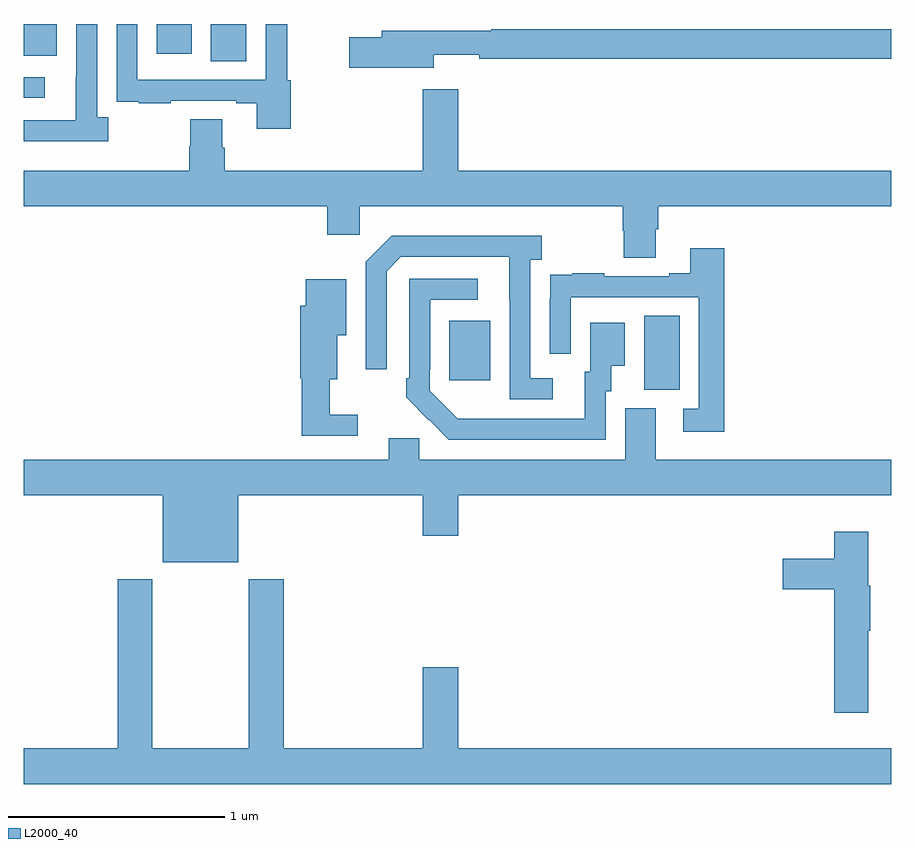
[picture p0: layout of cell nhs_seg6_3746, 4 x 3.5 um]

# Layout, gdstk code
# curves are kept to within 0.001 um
import gdstk
lib = gdstk.Library(unit=1e-6, precision=1e-09)
def R(c, l, rs):  # rectangles x0, y0, x1, y1
    for r in rs: c.add(gdstk.rectangle(r[:2], r[2:], *l))
def P(c, l, *ps):  # polygons
    for p in ps: c.add(gdstk.Polygon(p, *l))
L2000_40 = (2000, 40)

nhs_seg6_3746 = lib.new_cell('nhs_seg6_3746')
R(nhs_seg6_3746, L2000_40, [(333.86,955.813,334.024,956.156), (332.963,955.857,333.151,956.131), (331,957.159,331.096,957.255), (331.862,957.328,332.026,957.5), (331,957.353,331.153,957.5), (331.613,957.363,331.774,957.5)])
P(nhs_seg6_3746, L2000_40, [(331.39,957.07),(331.338,957.07),(331.338,957.5),(331.242,957.5),(331.242,957.257),(331.241,957.257),(331.241,957.057),(331,957.057),(331,956.96),(331.39,956.96)],
  [(332.231,957.24),(332.216,957.24),(332.216,957.5),(332.115,957.5),(332.115,957.243),(331.524,957.243),(331.524,957.5),(331.428,957.5),(331.428,957.25),(331.429,957.25),(331.429,957.141),(331.531,957.141),(331.531,957.135),(331.679,957.135),(331.679,957.147),(331.979,957.147),(331.979,957.135),(332.075,957.135),(332.075,957.018),(332.231,957.018)],
  [(332.89,957.359),(333.1,957.359),(333.1,957.34),(335,957.34),(335,957.476),(333.155,957.476),(333.155,957.469),(332.651,957.469),(332.651,957.44),(332.502,957.44),(332.502,957.298),(332.89,957.298)],
  [(333.004,957.199),(332.84,957.199),(332.84,956.824),(331.928,956.824),(331.928,956.93),(331.915,956.93),(331.915,957.062),(331.768,957.062),(331.768,956.937),(331.763,956.937),(331.763,956.824),(331,956.824),(331,956.66),(332.399,956.66),(332.399,956.529),(332.55,956.529),(332.55,956.66),(333.761,956.66),(333.761,956.547),(333.766,956.547),(333.766,956.422),(333.913,956.422),(333.913,956.554),(333.926,956.554),(333.926,956.66),(335,956.66),(335,956.824),(333.004,956.824)],
  [(333.439,955.866),(333.336,955.866),(333.336,956.414),(333.388,956.414),(333.388,956.524),(332.698,956.524),(332.577,956.403),(332.577,955.908),(332.673,955.908),(332.673,956.361),(332.739,956.427),(333.239,956.427),(333.24,955.77),(333.439,955.77)],
  [(334.229,956.467),(334.073,956.467),(334.073,956.35),(333.977,956.35),(333.977,956.337),(333.677,956.337),(333.677,956.35),(333.529,956.35),(333.529,956.343),(333.427,956.343),(333.427,956.234),(333.426,956.234),(333.426,955.98),(333.522,955.98),(333.522,956.241),(334.113,956.241),(334.113,955.725),(334.041,955.725),(334.041,955.62),(334.229,955.62)],
  [(333.684,955.806),(333.709,955.806),(333.709,955.925),(333.772,955.925),(333.772,956.122),(333.611,956.122),(333.611,955.896),(333.587,955.896),(333.587,955.68),(333,955.681),(332.871,955.809),(332.871,955.909),(332.874,955.909),(332.874,956.229),(333.094,956.229),(333.094,956.325),(332.778,956.325),(332.778,955.867),(332.763,955.867),(332.763,955.779),(332.96,955.584),(333.684,955.584)],
  [(332.539,955.699),(332.41,955.699),(332.41,955.862),(332.446,955.862),(332.446,956.066),(332.488,956.066),(332.488,956.323),(332.3,956.323),(332.3,956.202),(332.276,956.202),(332.276,955.866),(332.281,955.866),(332.281,955.602),(332.539,955.602)],
  [(332.823,955.59),(332.684,955.59),(332.684,955.492),(331,955.492),(331,955.328),(331.64,955.328),(331.64,955.019),(331.99,955.019),(331.99,955.328),(332.84,955.328),(332.84,955.14),(333.004,955.14),(333.004,955.328),(335,955.328),(335,955.492),(333.913,955.492),(333.913,955.728),(333.773,955.728),(333.773,955.492),(332.823,955.492)],
  [(334.894,954.703),(334.902,954.703),(334.902,954.909),(334.894,954.909),(334.894,955.159),(334.736,955.159),(334.736,955.035),(334.5,955.035),(334.5,954.893),(334.736,954.893),(334.736,954.324),(334.894,954.324)],
  [(335,954.16),(333.004,954.16),(333.004,954.535),(332.84,954.535),(332.84,954.16),(332.198,954.16),(332.198,954.94),(332.038,954.94),(332.038,954.16),(331.593,954.16),(331.593,954.94),(331.433,954.94),(331.433,954.16),(331,954.16),(331,953.996),(335,953.996)])

lib.write_gds('nhs_seg6_3746.gds')
